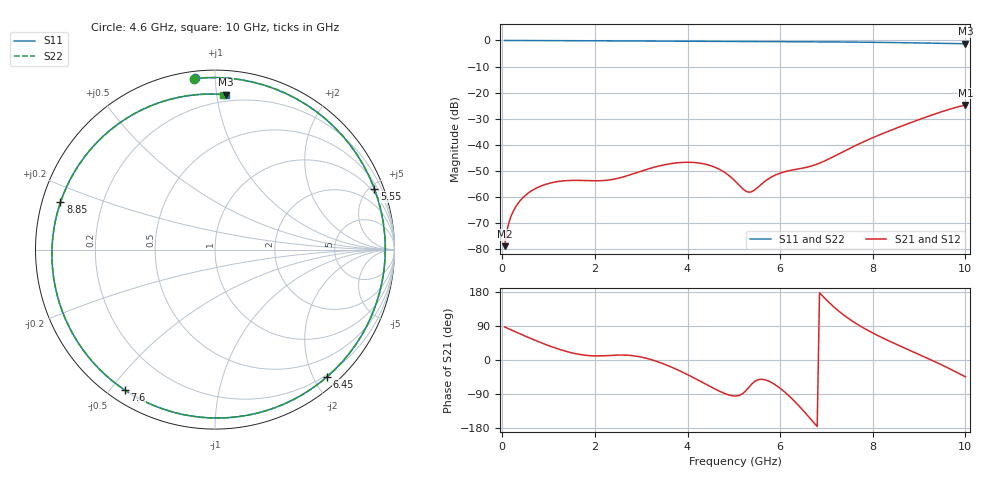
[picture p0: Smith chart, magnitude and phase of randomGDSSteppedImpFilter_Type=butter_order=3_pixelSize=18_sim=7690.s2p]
! freq	dB(S11)	phase(S11)	dB(S12)	phase(S12)
!  dB(S21)	phase(S21)	dB(S22)	phase(S22)
!S-par simulation data
#  GHz  S  DB  R 50
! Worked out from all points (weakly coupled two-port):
!   200 points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, 50 MHz to 10 GHz, reference 50 ohm
!   highest |S21| = -24.74 dB at 10 GHz (marker M1); lowest = -78.9 dB at 50 MHz (marker M2)
!   lowest |S11| = -1.3 dB at 10 GHz (marker M3), VSWR 13.75, Z = 7.77 + j53.1 ohm
!   |S11| at or under -10 dB: nowhere
!   |S22| runs from -1.3 to 0.0 dB; largest |S21 - S12| = 0
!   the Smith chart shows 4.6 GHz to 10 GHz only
!   S11 on the Smith chart (normalised r, x): 4.6 GHz: 0.04, +0.89; 5.55 GHz: 0.76, +5.32; 6.45 GHz: 0.17, -2.20; 7.6 GHz: 0.05, -0.54; 8.85 GHz: 0.05, +0.15; 10 GHz: 0.16, +1.06
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0.05  -0.00 -2.8  -78.90 87.2  -78.90 87.2  -0.00 -2.8
0.1  -0.01 -5.6  -72.89 84.5  -72.89 84.5  -0.01 -5.6
0.2  -0.02 -11.1  -66.93 79.0  -66.93 79.0  -0.02 -11.1
0.5  -0.04 -27.7  -59.39 62.8  -59.39 62.8  -0.04 -27.7
1.15  -0.08 -63.0  -54.25 31.5  -54.25 31.5  -0.08 -63.0
1.75  -0.12 -94.8  -53.71 13.1  -53.71 13.1  -0.12 -94.8
2.7  -0.18 -144.8  -51.86 12.7  -51.86 12.7  -0.18 -144.8
3.4  -0.23 176.1  -48.09 -6.5  -48.09 -6.5  -0.23 176.2
4  -0.29 138.8  -46.72 -38.6  -46.72 -38.6  -0.29 139.1
4.6  -0.36 96.5  -48.69 -76.9  -48.69 -76.9  -0.36 97.0
5.05  -0.40 61.5  -54.31 -94.9  -54.31 -94.9  -0.40 62.0
5.3  -0.42 41.3  -58.12 -75.6  -58.12 -75.6  -0.42 41.9
5.55  -0.44 20.9  -55.82 -51.3  -55.82 -51.3  -0.44 21.5
5.95  -0.46 -11.1  -51.21 -70.2  -51.21 -70.2  -0.46 -10.4
6.45  -0.49 -48.6  -49.10 -127.0  -49.10 -127.0  -0.49 -47.9
6.7  -0.51 -66.1  -48.03 -161.6  -48.03 -161.6  -0.51 -65.4
7.15  -0.56 -95.4  -44.56 141.1  -44.56 141.1  -0.56 -94.7
7.6  -0.63 -122.8  -40.53 99.4  -40.53 99.4  -0.63 -122.1
8.35  -0.78 -166.8  -34.73 50.3  -34.73 50.3  -0.78 -166.1
8.85  -0.91 163.0  -31.33 22.8  -31.33 22.8  -0.91 163.8
9.5  -1.10 120.8  -27.27 -13.5  -27.27 -13.5  -1.10 121.8
10  -1.27 86.0  -24.74 -44.4  -24.74 -44.4  -1.26 87.0
